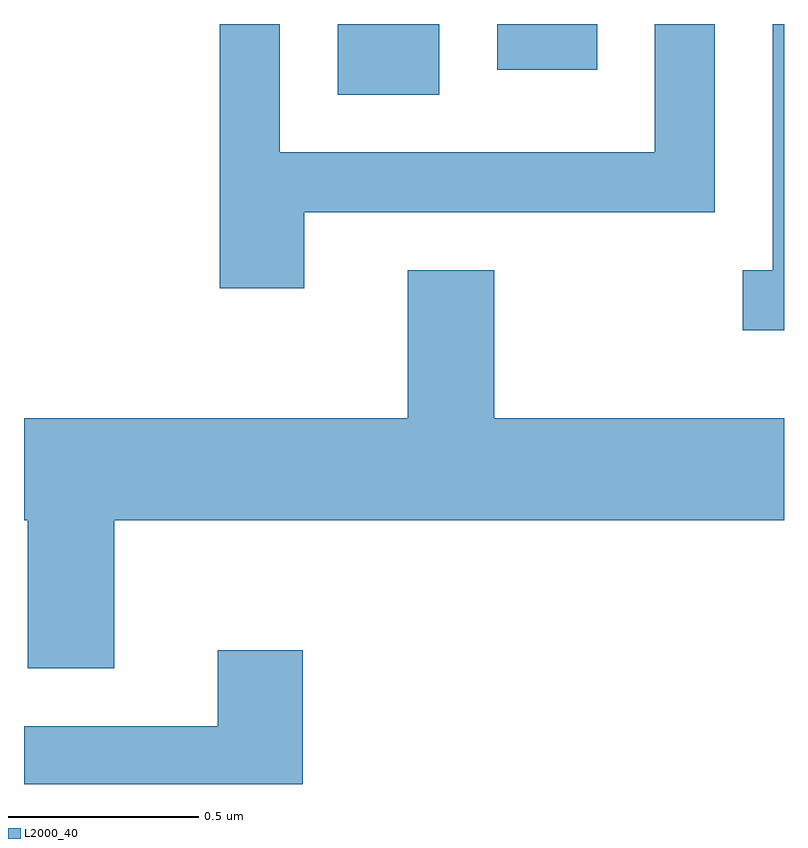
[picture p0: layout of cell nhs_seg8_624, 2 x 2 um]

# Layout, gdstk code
import gdstk
lib = gdstk.Library(unit=1e-6, precision=1e-09)
def R(c, l, rs):  # rectangles x0, y0, x1, y1
    for r in rs: c.add(gdstk.rectangle(r[:2], r[2:], *l))
def P(c, l, *ps):  # polygons
    for p in ps: c.add(gdstk.Polygon(p, *l))
L2000_40 = (2000, 40)

nhs_seg8_624 = lib.new_cell('nhs_seg8_624')
R(nhs_seg8_624, L2000_40, [(190.436,1884.156,190.704,1884.342), (190.856,1884.221,191.119,1884.342)])
P(nhs_seg8_624, L2000_40, [(190.349,1883.846),(191.429,1883.846),(191.429,1884.342),(191.271,1884.342),(191.271,1884.004),(190.284,1884.004),(190.284,1884.342),(190.126,1884.342),(190.126,1883.646),(190.349,1883.646)],
  [(191.611,1884.342),(191.581,1884.342),(191.581,1883.694),(191.503,1883.694),(191.503,1883.536),(191.611,1883.536)],
  [(189.849,1883.036),(191.611,1883.036),(191.611,1883.304),(190.849,1883.304),(190.849,1883.694),(190.621,1883.694),(190.621,1883.304),(189.611,1883.304),(189.611,1883.036),(189.621,1883.036),(189.621,1882.646),(189.849,1882.646)],
  [(190.344,1882.694),(190.121,1882.694),(190.121,1882.494),(189.611,1882.494),(189.611,1882.342),(190.344,1882.342)])

lib.write_gds('nhs_seg8_624.gds')
